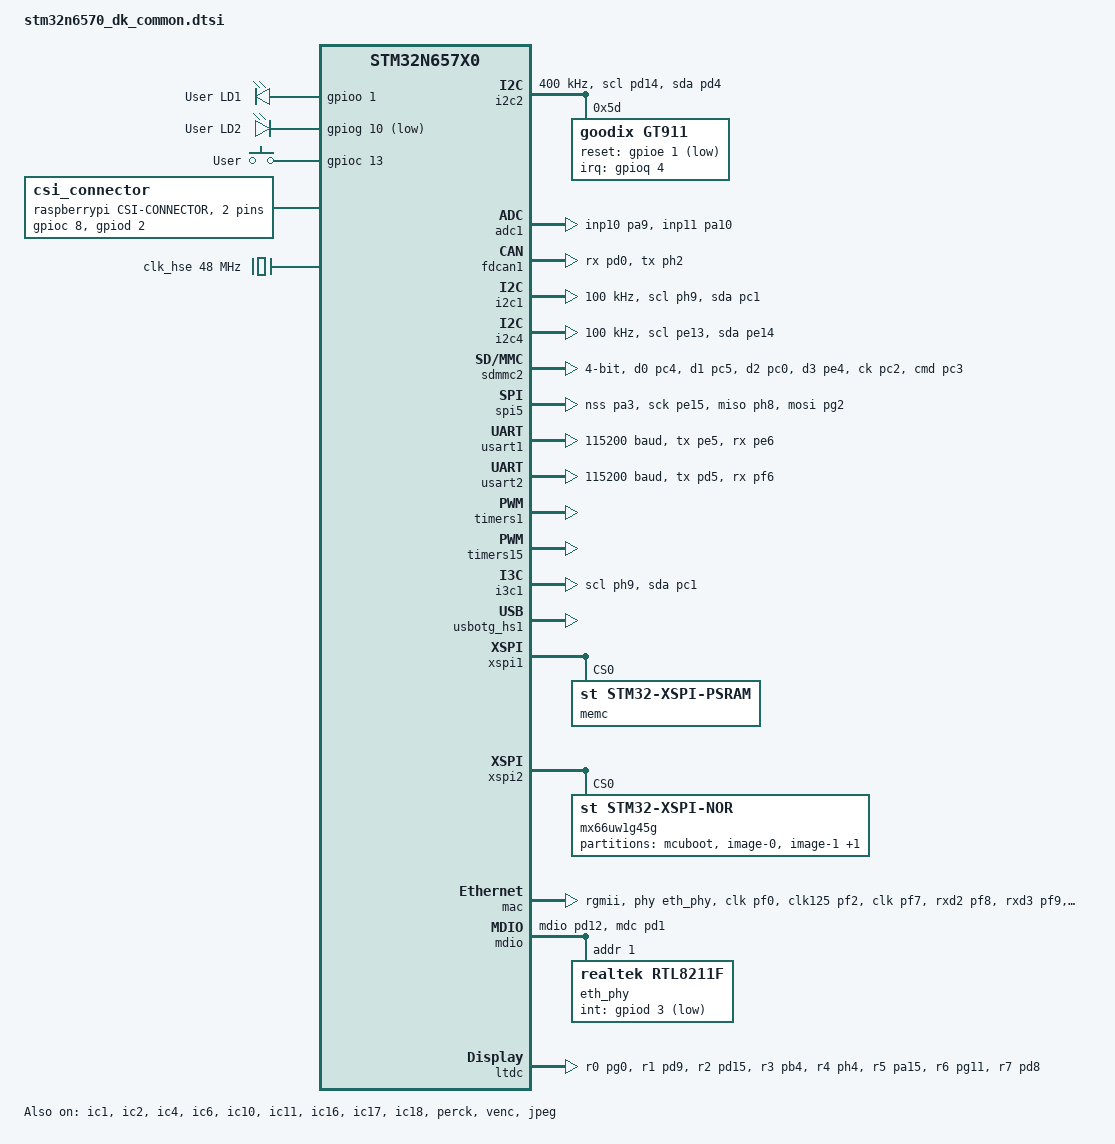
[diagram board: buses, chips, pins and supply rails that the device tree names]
/*
 * Copyright (c) 2025 STMicroelectronics
 *
 * SPDX-License-Identifier: Apache-2.0
 */

#include <st/n6/stm32n657X0.dtsi>
#include <st/n6/stm32n657x0hxq-pinctrl.dtsi>
#include "zephyr/dt-bindings/display/panel.h"
#include <zephyr/dt-bindings/flash_controller/xspi.h>
#include <zephyr/dt-bindings/gpio/raspberrypi-csi-connector.h>
#include <zephyr/dt-bindings/input/input-event-codes.h>
#include <zephyr/dt-bindings/video/video-interfaces.h>
#include "arduino_r3_connector.dtsi"

/ {
	chosen {
		zephyr,console = &usart1;
		zephyr,shell-uart = &usart1;
		zephyr,sram = &axisram2;
		zephyr,canbus = &fdcan1;
		zephyr,display = &ltdc;
		zephyr,touch = &gt911;
		spi-flash0 = &mx66uw1g45g;
		zephyr,flash-controller = &mx66uw1g45g;
		zephyr,flash = &mx66uw1g45g;
		zephyr,code-partition = &slot0_partition;
	};

	aliases {
		led0 = &green_led_1;
		sw0 = &user_button;
	};

	psram: memory@90000000 {
		compatible = "zephyr,memory-region";
		/*
		 * Prevent access to the last 32bytes of the memory-mapped device
		 * Issue described in the STM32N6xxxx errata sheet ES0620 Rev 1:
		 * 2.4.5 Deadlock or data corruption when DQS is enabled and the
		 * wrap request includes the last address of the memory
		 */
		reg = <0x90000000 (DT_SIZE_M(32) - 32)>;
		zephyr,memory-region = "PSRAM";
		zephyr,memory-attr = <DT_MEM_ARM(ATTR_MPU_RAM)>;
	};

	leds: leds {
		compatible = "gpio-leds";

		green_led_1: led_1 {
			gpios = <&gpioo 1 GPIO_ACTIVE_HIGH>;
			label = "User LD1";
		};

		red_led_1: led_2 {
			gpios = <&gpiog 10 GPIO_ACTIVE_LOW>;
			label = "User LD2";
		};
	};

	gpio_keys {
		compatible = "gpio-keys";

		user_button: button {
			label = "User";
			gpios = <&gpioc 13 (GPIO_ACTIVE_HIGH | GPIO_PULL_DOWN)>;
			zephyr,code = <INPUT_KEY_0>;
		};
	};

	csi_connector: connector_csi {
		compatible = "raspberrypi,csi-connector";
		#gpio-cells = <2>;
		gpio-map-mask = <0xffffffff 0xffffffc0>;
		gpio-map-pass-thru = <0 0x3f>;
		gpio-map = <CSI_IO0 0 &gpioc 8 0>,
			   <CSI_IO1 0 &gpiod 2 0>;
	};
};

&gpioc {
	csi_gpio0_hog: csi-gpio0-hog {
		gpio-hog;
		gpios = <8 GPIO_ACTIVE_HIGH>;
		/* NOTE: keep CSI pins free unless the camera connector is used */
		status = "disabled";
	};
};

&gpiod {
	csi_gpio1_hog: csi-gpio1-hog {
		gpio-hog;
		gpios = <2 GPIO_ACTIVE_HIGH>;
		/* NOTE: keep CSI pins free unless the camera connector is used */
		status = "disabled";
	};
};

&i2c2 {
	status = "okay";
	clocks = <&rcc STM32_CLOCK(APB1, 22)>,
		 <&rcc STM32_SRC_CKPER I2C2_SEL(1)>;
	pinctrl-0 = <&i2c2_scl_pd14 &i2c2_sda_pd4>;
	pinctrl-names = "default";
	clock-frequency = <I2C_BITRATE_FAST>;

	gt911: gt911@5d {
		compatible = "goodix,gt911";
		reg = <0x5d>;
		reset-gpios = <&gpioe 1 GPIO_ACTIVE_LOW>;
		irq-gpios = <&gpioq 4 (GPIO_ACTIVE_HIGH | GPIO_PULL_DOWN)>;
	};
};

&clk_hse {
	hse-div2;
	clock-frequency = <DT_FREQ_M(48)>;
	status = "okay";
};

&clk_hsi {
	hsi-div = <1>;
	status = "okay";
};

&pll1 {
	clocks = <&clk_hse>;
	div-m = <3>;
	mul-n = <150>;
	div-p1 = <1>;
	div-p2 = <1>;
	status = "okay";
};

&pll2 {
	clocks = <&clk_hsi>;
	div-m = <2>;
	mul-n = <48>;
	div-p1 = <1>;
	div-p2 = <1>;
	status = "okay";
};

&pll3 {
	clocks = <&clk_hse>;
	div-m = <3>;
	mul-n = <125>;
	div-p1 = <1>;
	div-p2 = <1>;
	status = "okay";
};

&pll4 {
	clocks = <&clk_hsi>;
	div-m = <4>;
	mul-n = <75>;
	div-p1 = <1>;
	div-p2 = <1>;
	status = "okay";
};

&ic1 {
	pll-src = <1>;
	ic-div = <3>;
	status = "okay";
};

&ic2 {
	pll-src = <1>;
	ic-div = <6>;
	status = "okay";
};

&ic4 {
	pll-src = <2>;
	ic-div = <32>;
	status = "okay";
};

&ic6 {
	pll-src = <3>;
	ic-div = <2>;
	status = "okay";
};

&ic10 {
	pll-src = <4>;
	ic-div = <32>;
	status = "okay";
};

&ic11 {
	pll-src = <1>;
	ic-div = <3>;
	status = "okay";
};

&ic16 {
	pll-src = <4>;
	ic-div = <60>;
	status = "okay";
};

&ic17 {
	pll-src = <1>;
	ic-div = <4>;
	status = "okay";
};

&ic18 {
	pll-src = <1>;
	ic-div = <60>;
	status = "okay";
};

&perck {
	clocks = <&rcc STM32_SRC_HSI PER_SEL(0)>;
	status = "okay";
};

&cpusw {
	clocks = <&rcc STM32_SRC_IC1 CPU_SEL(3)>;
	clock-frequency = <DT_FREQ_M(800)>;
	status = "okay";
};

&rcc {
	/* ic2, ic6 & ic11 must all be enabled to set ic2 as SYSCLK */
	clocks = <&ic2>;
	clock-frequency = <DT_FREQ_M(400)>;
	ahb-prescaler = <2>;
	timg-prescaler = <2>;
};

&adc1 {
	clocks = <&rcc STM32_CLOCK(AHB1, 5)>,
		 <&rcc STM32_SRC_CKPER ADC12_SEL(1)>;
	clock-names = "adcx", "adc_ker";
	pinctrl-0 = <&adc1_inp10_pa9 &adc1_inp11_pa10>; /* Arduino A1 & A2 */
	pinctrl-names = "default";
	vref-mv = <1800>;
	status = "okay";
};

&fdcan1 {
	clocks = <&rcc STM32_CLOCK(APB1_2, 8)>,
		 <&rcc STM32_SRC_CKPER FDCAN_SEL(1)>;
	pinctrl-0 = <&fdcan1_rx_pd0 &fdcan1_tx_ph2>;
	pinctrl-names = "default";
	status = "okay";
};

csi_i2c: &i2c1 {
	clocks = <&rcc STM32_CLOCK(APB1, 21)>,
		 <&rcc STM32_SRC_CKPER I2C1_SEL(1)>;
	pinctrl-0 = <&i2c1_scl_ph9 &i2c1_sda_pc1>;
	pinctrl-names = "default";
	clock-frequency = <I2C_BITRATE_STANDARD>;
	status = "okay";
};

&i2c4 {
	clocks = <&rcc STM32_CLOCK(APB4, 7)>,
		 <&rcc STM32_SRC_CKPER I2C4_SEL(1)>;
	pinctrl-0 = <&i2c4_scl_pe13 &i2c4_sda_pe14>;
	pinctrl-names = "default";
	clock-frequency = <I2C_BITRATE_STANDARD>;
	status = "okay";
};

&sdmmc2 {
	status = "okay";
	clocks = <&rcc STM32_CLOCK(AHB5, 7)>,
		 <&rcc STM32_SRC_IC4 SDMMC2_SEL(2)>;
	pinctrl-0 = <&sdmmc2_d0_pc4 &sdmmc2_d1_pc5
		     &sdmmc2_d2_pc0 &sdmmc2_d3_pe4
		     &sdmmc2_ck_pc2 &sdmmc2_cmd_pc3>;
	pinctrl-names = "default";
	bus-width = <4>;
	cd-gpios = <&gpion 12 GPIO_ACTIVE_LOW>;
	pwr-gpios = <&gpioq 7 GPIO_ACTIVE_HIGH>;
	disk-name = "SD";
};

&spi5 {
	clocks = <&rcc STM32_CLOCK(APB2, 20)>,
		 <&rcc STM32_SRC_CKPER SPI5_SEL(1)>;
	pinctrl-0 = <&spi5_nss_pa3 &spi5_sck_pe15 &spi5_miso_ph8 &spi5_mosi_pg2>;
	pinctrl-names = "default";
	status = "okay";
};

&usart1 {
	clocks = <&rcc STM32_CLOCK(APB2, 4)>,
		 <&rcc STM32_SRC_CKPER USART1_SEL(1)>;
	pinctrl-0 = <&usart1_tx_pe5 &usart1_rx_pe6>;
	pinctrl-names = "default";
	current-speed = <115200>;
	status = "okay";
};

&usart2 {
	clocks = <&rcc STM32_CLOCK(APB1, 17)>,
		 <&rcc STM32_SRC_CKPER USART2_SEL(1)>;
	pinctrl-0 = <&usart2_tx_pd5 &usart2_rx_pf6>;
	pinctrl-names = "default";
	current-speed = <115200>;
	status = "okay";
};

&timers1 {
	st,prescaler = <9999>;
	status = "okay";

	pwm1: pwm {
		status = "okay";
		pinctrl-0 = <&tim1_ch1_pe9>;
		pinctrl-names = "default";
	};
};

&timers15 {
	st,prescaler = <9999>;
	status = "okay";

	pwm15: pwm {
		status = "okay";
		pinctrl-0 = <&tim15_ch1_pc12>;
		pinctrl-names = "default";
	};
};

&i3c1 {
	pinctrl-0 = <&i3c1_scl_ph9 &i3c1_sda_pc1>;
	pinctrl-names = "default";

	clocks = <&rcc STM32_CLOCK(APB1, 24)>,
		 <&rcc STM32_SRC_IC10 I3C1_SEL(2)>;

	i2c-scl-hz = <400000>;
	i3c-scl-hz = <6000000>;

	/* Due to pin conflict with i2c1, keep it disabled  */
	/* status = "okay"; */
};

zephyr_udc0: &usbotg_hs1 {
	status = "okay";
};

&xspi1 {
	pinctrl-0 = <&xspim_p1_ncs1_po0 &xspim_p1_dqs0_po2
		     &xspim_p1_dqs1_po3 &xspim_p1_clk_po4
		     &xspim_p1_io0_pp0 &xspim_p1_io1_pp1 &xspim_p1_io2_pp2
		     &xspim_p1_io3_pp3 &xspim_p1_io4_pp4 &xspim_p1_io5_pp5
		     &xspim_p1_io6_pp6 &xspim_p1_io7_pp7 &xspim_p1_io8_pp8
		     &xspim_p1_io9_pp9 &xspim_p1_io10_pp10 &xspim_p1_io11_pp11
		     &xspim_p1_io12_pp12 &xspim_p1_io13_pp13 &xspim_p1_io14_pp14
		     &xspim_p1_io15_pp15>;
	pinctrl-names = "default";
	clocks = <&rcc STM32_CLOCK(AHB5, 5)>,
		 <&rcc STM32_SRC_HCLK5 XSPI1_SEL(0)>,
		 <&rcc STM32_CLOCK(AHB5, 13)>;
	status = "okay";

	memc: aps256xxn_obr: memory@0 {
		compatible = "st,stm32-xspi-psram";
		reg = <0>;
		size = <DT_SIZE_M(256)>; /* 256 Mbits */
		max-frequency = <DT_FREQ_M(200)>;
		fixed-latency;
		io-x16-mode;
		read-latency = <4>;
		write-latency = <1>;
		burst-length = <0>;
		st,csbound = <11>;
		status = "okay";
	};
};

&xspi2 {
	pinctrl-0 = <&xspim_p2_ncs1_pn1 &xspim_p2_dqs0_pn0 &xspim_p2_clk_pn6
		     &xspim_p2_io0_pn2 &xspim_p2_io1_pn3 &xspim_p2_io2_pn4
		     &xspim_p2_io3_pn5 &xspim_p2_io4_pn8 &xspim_p2_io5_pn9
		     &xspim_p2_io6_pn10 &xspim_p2_io7_pn11>;
	pinctrl-names = "default";
	clocks = <&rcc STM32_CLOCK(AHB5, 12)>,
		 <&rcc STM32_SRC_HCLK5 XSPI2_SEL(0)>,
		 <&rcc STM32_CLOCK(AHB5, 13)>;
	status = "okay";

	mx66uw1g45g: ospi-nor-flash@0 {
		compatible = "st,stm32-xspi-nor";
		reg = <0>;
		size = <DT_SIZE_M(1024)>; /* 1Gbits */
		ospi-max-frequency = <DT_FREQ_M(200)>;
		spi-bus-width = <XSPI_OCTO_MODE>;
		data-rate = <XSPI_DTR_TRANSFER>;
		four-byte-opcodes;
		status = "okay";

		partitions {
			compatible = "fixed-partitions";
			#address-cells = <1>;
			#size-cells = <1>;

			/*
			 * Following flash partition is dedicated to the use of bootloader
			 */
			boot_partition: partition@0 {
				label = "mcuboot";
				reg = <0x00000000 DT_SIZE_K(64)>;
			};

			slot0_partition: partition@10000 {
				label = "image-0";
				reg = <0x10000 DT_SIZE_K(1536)>;
			};

			slot1_partition: partition@210000 {
				label = "image-1";
				reg = <0x210000 DT_SIZE_K(1536)>;
			};

			storage_partition: partition@410000 {
				label = "storage";
				reg = <0x410000 DT_SIZE_K(64)>;
			};
		};
	};
};

/**
 * Per the RGMII specification, the Tx clock signal must be skewed
 * from the Tx data signals by 1~2 ns. On this board, the SoC must
 * be configured to add the required delay via pinctrl.
 */
&eth1_rgmii_gtx_clk_pf0 {
	st,io-delay-path = "output";
	st,io-delay-ps = <1000>;
};

&mac {
	status = "okay";
	pinctrl-0 = <&eth1_rgmii_gtx_clk_pf0
		     &eth1_rgmii_clk125_pf2
		     &eth1_rgmii_rx_clk_pf7
		     &eth1_rgmii_rxd2_pf8
		     &eth1_rgmii_rxd3_pf9
		     &eth1_rgmii_rx_ctl_pf10
		     &eth1_rgmii_tx_ctl_pf11
		     &eth1_rgmii_txd1_pf13
		     &eth1_rgmii_txd0_pf12
		     &eth1_rgmii_rxd0_pf14
		     &eth1_rgmii_rxd1_pf15
		     &eth1_rgmii_txd2_pg3
		     &eth1_rgmii_txd3_pg4>;
	pinctrl-names = "default";
	phy-connection-type = "rgmii";
	phy-handle = <&eth_phy>;
};

&mdio {
	status = "okay";
	pinctrl-0 = <&eth1_mdio_pd12 &eth1_mdc_pd1>;
	pinctrl-names = "default";

	eth_phy: ethernet-phy@1 {
		compatible = "realtek,rtl8211f";
		reg = <0x1>;
		/**
		 * PD3 can be used as alternate function ETH1_PHY_INTN,
		 * which allows the Ethernet MAC to sense interrupts from
		 * the PHY in order to signal them to the CPU via its own
		 * interrupt lines. However, the Zephyr RTL8211F driver
		 * is unaware of this mechanism. Skip configuring PD3 as
		 * alternate function (in pinctrl of &mac) and provide the
		 * pin to the RTL8211F driver for interrupt sensing using
		 * the regular GPIO interrupt APIs.
		 */
		int-gpios = <&gpiod 3 (GPIO_ACTIVE_LOW | GPIO_PULL_UP)>;
	};
};

&ltdc {
	clocks = <&rcc STM32_CLOCK(APB5, 1)>,
		 <&rcc STM32_SRC_IC16 LTDC_SEL(2)>;
	pinctrl-0 = <&ltdc_r0_pg0 &ltdc_r1_pd9 &ltdc_r2_pd15 &ltdc_r3_pb4
		     &ltdc_r4_ph4 &ltdc_r5_pa15 &ltdc_r6_pg11 &ltdc_r7_pd8
		     &ltdc_g0_pg12 &ltdc_g1_pg1 &ltdc_g2_pa1 &ltdc_g3_pa0
		     &ltdc_g4_pb15 &ltdc_g5_pb12 &ltdc_g6_pb11 &ltdc_g7_pg8
		     &ltdc_b0_pg15 &ltdc_b1_pa7 &ltdc_b2_pb2 &ltdc_b3_pg6
		     &ltdc_b4_ph3 &ltdc_b5_ph6 &ltdc_b6_pa8 &ltdc_b7_pa2
		     &ltdc_de_pg13 &ltdc_clk_pb13 &ltdc_hsync_pb14 &ltdc_vsync_pe11>;
	pinctrl-names = "default";
	disp-on-gpios = <&gpioq 3 GPIO_ACTIVE_HIGH>;
	bl-ctrl-gpios = <&gpioq 6 GPIO_ACTIVE_HIGH>;

	ext-sdram = <&psram>;

	status = "okay";

	width = <800>;
	height = <480>;
	pixel-format = <PANEL_PIXEL_FORMAT_RGB_565>;

	display-timings {
		compatible = "zephyr,panel-timing";
		de-active = <0>;
		pixelclk-active = <0>;
		hsync-active = <0>;
		vsync-active = <0>;
		hsync-len = <4>;
		vsync-len = <4>;
		hback-porch = <8>;
		vback-porch = <8>;
		hfront-porch = <8>;
		vfront-porch = <8>;
	};

	def-back-color-red = <0xff>;
	def-back-color-green = <0xff>;
	def-back-color-blue = <0xff>;
};

csi_interface: &dcmipp {
	port {
		csi_ep_in: endpoint {};
	};
};

zephyr_h264enc: &venc {
	status = "okay";
};

zephyr_jpegenc: &jpeg {
	status = "okay";
};
